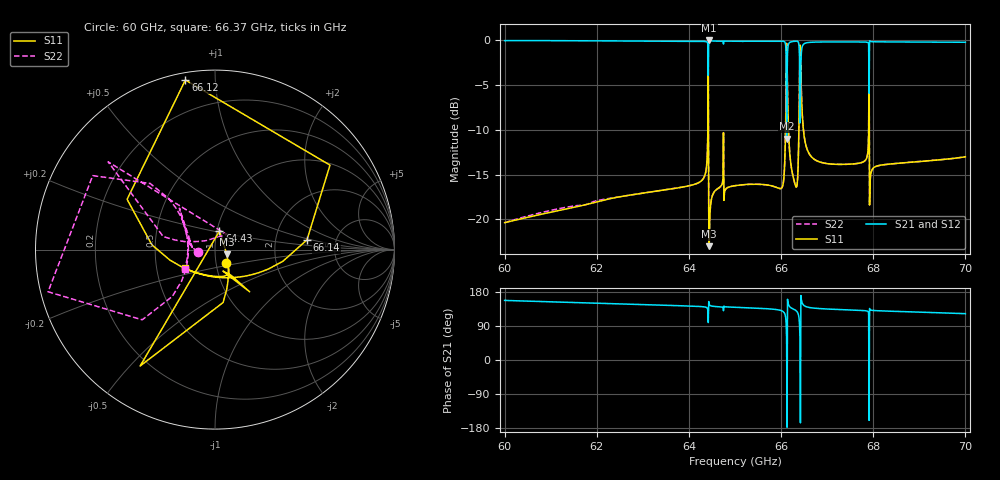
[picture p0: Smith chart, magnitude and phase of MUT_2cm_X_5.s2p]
! TOUCHSTONE file generated by CST MICROWAVE STUDIO
! Date and time: Tue Feb 27 21:04:29 2024
! Project name: material_angular.cst
! Parameters = {exis2=5; exis=5; X=5; Z=5; Y=2}
! Header version: 2018
! Port assignment regex: !\s*Touchstone port\s*([0-9]+)\s*=\s*(CST MWS port|CST DS port)\s*([0-9]+|Zmin|Zmax)\s*\(\"(.*)\"\)(\s*mode\s*([0-9]+))?.*
! Touchstone port assignment:
! Touchstone port 1 = CST MWS port 1 ("")
! Touchstone port 2 = CST MWS port 2 ("")
# GHz S MA R 376.7
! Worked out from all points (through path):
!   1001 points, 60 GHz to 70 GHz, reference 376.7 ohm
!   highest |S21| = -0.02 dB at 64.44 GHz (marker M1); lowest = -11.0 dB at 66.12 GHz (marker M2)
!   lowest |S11| = -23.0 dB at 64.44 GHz (marker M3), VSWR 1.15, Z = 429 - j22 ohm
!   |S11| at or under -10 dB: start of sweep to 64.41 GHz; 64.42 GHz to 66.1 GHz (1.672 GHz wide, 2.56 % of centre); 67.92 GHz to end of sweep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
!   |S22| runs from -23.0 to -0.4 dB; largest |S21 - S12| = 0.0032
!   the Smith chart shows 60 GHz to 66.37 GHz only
!   S11 on the Smith chart (normalised r, x): 60 GHz: 1.11, -0.17; 64.43 GHz: 1.03, +0.21; 66.12 GHz: 0.04, +0.84; 66.14 GHz: 3.05, +0.45; 66.37 GHz: 0.70, -0.15
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60  0.0957 -52.2  0.9955 157.2  0.9953 157.3  0.0957 -173.3
61.67  0.1192 -52.7  0.9935 151.2  0.9929 151.2  0.1198 175.8
63.34  0.1441 -57.8  0.9891 145.0  0.9898 145.0  0.1442 167.7
64.24  0.1617 -62.5  0.9869 141.2  0.987 141.2  0.1615 164.8
64.37  0.1869 -67.2  0.9824 139.2  0.9825 139.2  0.1866 165.6
64.43  0.1063 76.4  0.9944 154.3  0.9944 154.3  0.1063 52.3
64.44  0.07077 -21.1  0.9976 147.0  0.9975 147.0  0.07075 135.0
64.48  0.1258 -53.9  0.9921 142.7  0.9921 142.7  0.1256 159.2
65  0.154 -64.0  0.9879 139.1  0.988 139.1  0.154 162.2
66  0.1487 -101.9  0.9889 130.5  0.989 130.5  0.1486 -177.0
66.07  0.1845 -141.9  0.9828 124.3  0.9828 124.3  0.1845 -149.4
66.12  0.9593 99.9  0.2823 57.1  0.2823 57.1  0.9593 -165.8
66.14  0.5154 6.1  0.857 160.3  0.8573 160.4  0.5159 134.4
66.18  0.2484 -34.2  0.9688 141.8  0.9692 141.8  0.2483 137.6
66.29  0.1611 -75.9  0.9869 133.0  0.9872 133.0  0.161 161.9
66.34  0.1525 -108.2  0.9883 128.5  0.9884 128.5  0.1524 -174.8
66.37  0.1988 -148.5  0.9801 122.0  0.9801 122.0  0.1988 -147.5
66.43  0.6671 20.8  0.7448 170.3  0.7457 170.3  0.6673 139.8
66.47  0.3498 -16.4  0.9367 147.6  0.9371 147.6  0.3499 131.6
66.67  0.2217 -45.4  0.9751 137.5  0.9752 137.5  0.2217 140.4
68.34  0.2033 -62.7  0.979 128.9  0.9799 128.9  0.2033 140.5
70  0.2234 -67.8  0.9747 122.3  0.9749 122.2  0.2234 132.4
